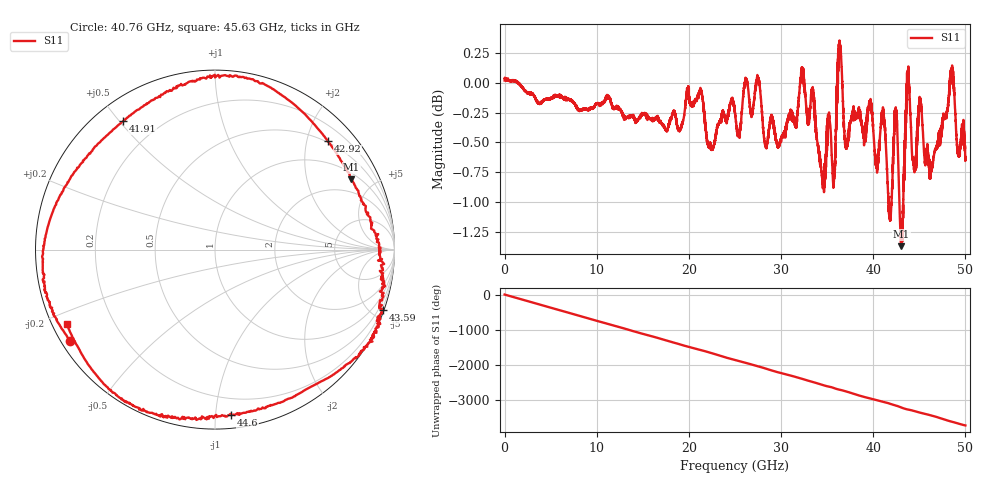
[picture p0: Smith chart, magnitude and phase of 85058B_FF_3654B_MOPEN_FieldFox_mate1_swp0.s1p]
!Created with skrf (http://scikit-rf.org).
# Hz S RI R 50.0
!freq ReS11 ImS11
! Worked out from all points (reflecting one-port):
!   10001 points, 300 kHz to 50 GHz, reference 50 ohm
!   lowest |S11| = -1.4 dB at 43.07 GHz (marker M1), VSWR 12.69, Z = 64.2 + j185 ohm
!   phase of S11 starts at 0 deg and turns -3722 deg over the sweep
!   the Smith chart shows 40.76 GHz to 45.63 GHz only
!   S11 on the Smith chart (normalised r, x): 40.76 GHz: 0.03, -0.29; 41.91 GHz: 0.08, +0.51; 42.92 GHz: 0.48, +2.41; 43.59 GHz: 0.10, -5.76; 44.6 GHz: 0.08, -1.10; 45.63 GHz: 0.04, -0.24
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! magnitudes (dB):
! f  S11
! 300 kHz  0.0
! 6.25 GHz  -0.1
! 12.5 GHz  -0.2
! 18.75 GHz  -0.4
! 25 GHz  -0.3
! 27.47 GHz  0.0
! 31.25 GHz  -0.3
! 32.32 GHz  0.1
! 34.51 GHz  -0.8
! 35.2 GHz  -0.3
! 35.69 GHz  -0.9
! 36.38 GHz  0.3
! 36.99 GHz  -0.5
! 37.5 GHz  -0.3
! 40.76 GHz  -0.4
! 41.15 GHz  -0.3
! 41.91 GHz  -1.1
! 42.44 GHz  -0.2
! 42.92 GHz  -1.2
! 43.07 GHz  -1.4
! 43.59 GHz  0.0
! 43.75 GHz  0.0
! 44.6 GHz  -0.7
! 45.07 GHz  -0.2
! 45.63 GHz  -0.7
! 48.52 GHz  0.1
! 49.21 GHz  -0.6
! 50 GHz  -0.6
